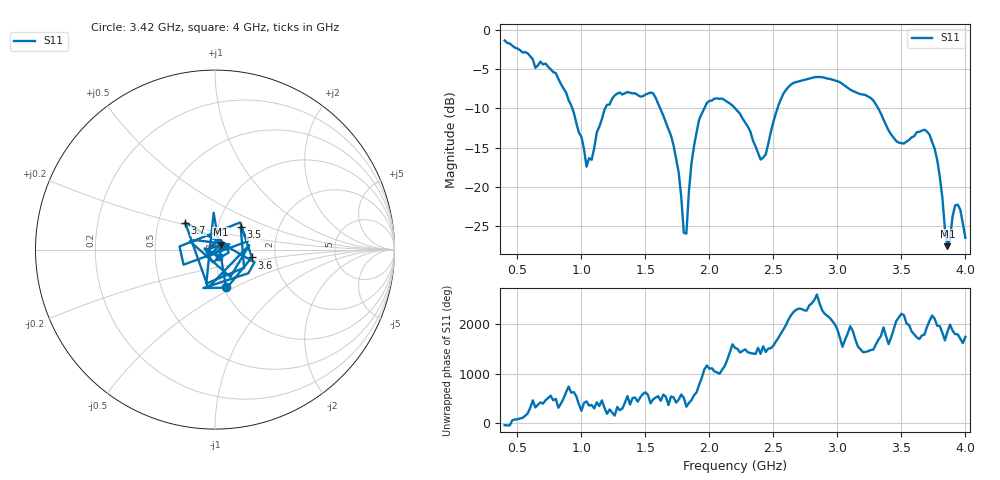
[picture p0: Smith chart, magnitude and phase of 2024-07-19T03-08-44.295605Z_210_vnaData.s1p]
!Created with skrf (http://scikit-rf.org).
# Hz S RI R 50.0
!freq ReS11 ImS11
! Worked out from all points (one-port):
!   181 points, 400 MHz to 4 GHz, reference 50 ohm
!   lowest |S11| = -27.6 dB at 3.86 GHz (marker M1), VSWR 1.09, Z = 53.1 + j3.02 ohm
!   |S11| at or under -10 dB: 1.615 GHz to 1.961 GHz (345.3 MHz wide, 19.3 % of centre); 2.2 GHz to 2.532 GHz (332.2 MHz wide, 14 % of centre); 3.319 GHz to end of sweep (the widest 3 of 4)
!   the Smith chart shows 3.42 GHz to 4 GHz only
!   S11 on the Smith chart (normalised r, x): 3.42 GHz: 1.03, -0.45; 3.5 GHz: 1.29, +0.33; 3.6 GHz: 1.51, -0.14; 3.7 GHz: 0.69, +0.22; 4 GHz: 1.04, -0.09
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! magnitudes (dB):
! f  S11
! 400 MHz  -1.4
! 860 MHz  -7.5
! 1.04 GHz  -17.4
! 1.18 GHz  -10.2
! 1.3 GHz  -8.0
! 1.56 GHz  -8.1
! 1.7 GHz  -13.5
! 1.76 GHz  -18.2
! 1.8 GHz  -25.9
! 1.82 GHz  -26.0
! 1.86 GHz  -17.0
! 1.92 GHz  -11.4
! 2.04 GHz  -8.8
! 2.2 GHz  -10.0
! 2.4 GHz  -16.5
! 2.56 GHz  -8.8
! 2.66 GHz  -6.7
! 3.1 GHz  -7.6
! 3.28 GHz  -9.0
! 3.42 GHz  -13.3
! 3.5 GHz  -14.4
! 3.56 GHz  -14.0
! 3.6 GHz  -13.6
! 3.7 GHz  -13.0
! 3.78 GHz  -16.6
! 3.86 GHz  -27.6
! 3.92 GHz  -22.4
! 4 GHz  -26.5
